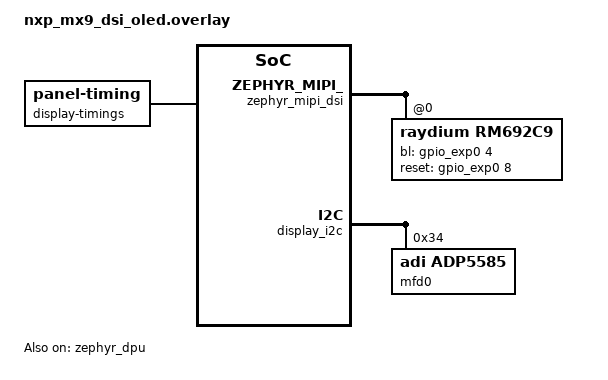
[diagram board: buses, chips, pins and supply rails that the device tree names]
/*
 * Copyright 2025 NXP
 *
 * SPDX-License-Identifier: Apache-2.0
 */

#include <zephyr/dt-bindings/display/panel.h>

/ {
	chosen {
		zephyr,display = &dpu;
	};

	aliases {
		mipi-dsi = &mipi_dsi;
	};
};

&zephyr_dpu {
	width = <1080>;
	height = <2340>;
	pixel-format = "argb-8888";
	status = "okay";

	display-timings {
		compatible = "zephyr,panel-timing";
		hsync-len = <4>;
		hfront-porch = <12>;
		hback-porch = <8>;
		vsync-len = <4>;
		vfront-porch = <10>;
		vback-porch = <10>;
		de-active = <0>;
		pixelclk-active = <0>;
		hsync-active = <1>;
		vsync-active = <1>;
		clock-frequency = <148444444>;
	};
};

&zephyr_mipi_dsi {
	nxp,dc = <&dpu>;
	dpi-color-coding = "24-bit";
	dpi-video-mode = "non-burst-sync-pulse";
	dphy-ref-frequency = <24000000>;
	data-rate-clock = <890666666>;
	status = "okay";

	rm692c9@0 {
		compatible = "raydium,rm692c9";
		reg = <0>;
		bl-gpios = <&gpio_exp0 4 GPIO_ACTIVE_HIGH>;
		reset-gpios = <&gpio_exp0 8 GPIO_ACTIVE_HIGH>;
		data-lanes = <4>;
		pixel-format = <MIPI_DSI_PIXFMT_RGB888>;
		status = "okay";
	};
};

&display_i2c {
	status = "okay";

	mfd0: adp5585@34 {
		compatible = "adi,adp5585";
		reg = <0x34>;
		status = "okay";

		gpio_exp0: adp5585_gpio {
			compatible = "adi,adp5585-gpio";
			gpio-controller;
			#gpio-cells = <2>;
			ngpios = <13>;
			gpio-reserved-ranges = <5 3>;
			status = "okay";
		};
	};
};
